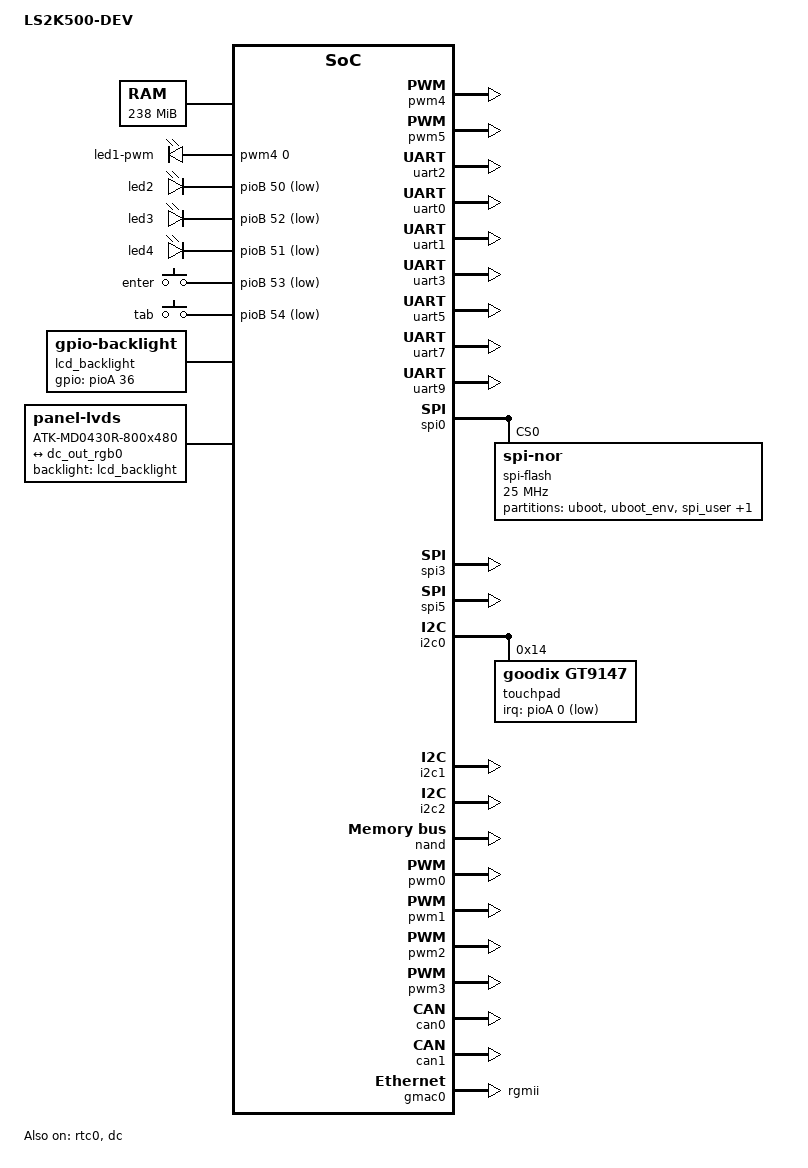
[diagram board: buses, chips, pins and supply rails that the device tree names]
#include "loongson2k500.dtsi"
#include "loongson_panel_param.dtsi"
#include <dt-bindings/input/linux-event-codes.h>
#include <dt-bindings/pwm/pwm.h>

/ {
	model = "LS2K500-DEV";
	chosen {
		stdout-path = "serial2:115200n8";
		bootargs = "earlycon";
	};

	memory {
		name = "memory";
		device_type = "memory";
		reg =  <0 0x00200000 0 0x0ee00000>;	/* low 256MB, 0 ~ 2MB reserved, highest 16MB reserved. */
	};

	reserved-memory {
		#address-cells = <2>;
		#size-cells = <2>;
		ranges;

		fb_memory: framebuffer {
			compatible = "shared-dma-pool";
			no-map;
			reg = <0 0x0b000000 0 0x02000000>; /* 32M */
		};

		linux,cma {
			compatible = "shared-dma-pool";
			reusable;
			size = <0 0x02000000>;
			alloc-ranges = <0 0x00200000 0 0x09000000>;
			linux,cma-default;
		};
	};

	pwmleds {
		compatible = "pwm-leds";

		led1 {
			label = "led1-pwm";
			pwms = <&pwm4 0 2550000>;
			max-brightness = <255>;
		};
	};

	leds {
		compatible = "gpio-leds";

		led2 {
			label = "led2";
			gpios = <&pioB 50 GPIO_ACTIVE_LOW>;
			linux,default-trigger = "heartbeat";
			default-state = "on";
		};

		led3 {
			label = "led3";
			gpios = <&pioB 52 GPIO_ACTIVE_LOW>;
			default-state = "off";
		};

		led4 {
			label = "led4";
			gpios = <&pioB 51 GPIO_ACTIVE_LOW>;
			default-state = "off";
		};
	};

	gpio_keys {
		compatible = "gpio-keys-polled";
		#address-cells = <1>;
		#size-cells = <0>;
		poll-interval = <20>;

		enter {
			label = "enter";
			linux,code = <28>;
			gpios = <&pioB 53 GPIO_ACTIVE_LOW>;
		};

		tab {
			label = "tab";
			linux,code = <15>;
			gpios = <&pioB 54 GPIO_ACTIVE_LOW>;
		};
	};
};

&pinmux {
	// backlight
	bl_gpio_pins:pinmux_bl_gpio {
		pinctrl-single,bits = <0x10 0x00000000 0x00070000>;
	};

	// key1: gpio117  key2: gpio118
	key_pins: pinmux_key_gpio {
		pinctrl-single,bits = <0x38 0x00000000 0x07700000>;
	};

	// touchpad
	tp_pins: pinmux_tp_gpio {
		pinctrl-single,bits = <0x00 0x00000000 0x00000007>;
	};

	spi3_f_kbms_pins: pinmux_spi3_f_kbms {
		pinctrl-single,bits = <0x10 0x00003333 0x00007777>;
	};

	spi3_f_kbms_gpio: pinmux_spi3_f_gpio {
		pinctrl-single,bits = <0x10 0x00000000 0x00007777>;
	};

	i2c1_f_uart0_pins: pinmux_i2c1_f_uart0 {
		pinctrl-single,bits = <0x18 0x00003300 0x00007700>;
	};

	i2c1_f_uart0_gpio: pinmux_i2c1_f_gpio {
		pinctrl-single,bits = <0x18 0x00000000 0x00007700>;
	};

	i2c2_f_uart0_pins: pinmux_i2c2_f_uart0 {
		pinctrl-single,bits = <0x18 0x00330000 0x00770000>;
	};

	i2c2_f_uart0_gpio: pinmux_i2c2_f_gpio {
		pinctrl-single,bits = <0x18 0x00000000 0x00770000>;
	};

	pwm4_f_pci_pins: pinmux_pwm4_f_pci {
		pinctrl-single,bits = <0x34 0x00000003 0x00000007>;
	};

	pwm5_f_pci_pins: pinmux_pwm5_f_pci {
		pinctrl-single,bits = <0x34 0x00000030 0x00000070>;
	};

	pwm5_f_pci_gpio: pinmux_pwm5_f_gpio {
		pinctrl-single,bits = <0x34 0x00000000 0x00000070>;
	};

	spi5_f_pci_pins: pinmux_spi5_f_pci {
		pinctrl-single,bits = <0x3c 0x44400000 0x77700000
					0x40 0x00000004 0x00000007>;
	};

	spi5_f_pci_gpio: pinmux_spi5_f_gpio {
		pinctrl-single,bits = <0x3c 0x00000000 0x77700000
					0x40 0x00000000 0x00000007>;
	};
};

&soc {
	lcd_backlight: backlight {
		compatible = "gpio-backlight";
		pinctrl-names = "default";
		pinctrl-0 = <&bl_gpio_pins>;
		gpios = <&pioA 36 GPIO_ACTIVE_HIGH>;
		status = "okay";
	};

	panel: dvo-connector@0 {
		#address-cells = <1>;
		#size-cells = <0>;
		compatible = "panel-lvds", "auo,b101ean01";
		backlight = <&lcd_backlight>;

		/* lcd power on control gpio */
		// enable-gpios = <&pioA 3 GPIO_ACTIVE_HIGH>;
		// power-supply = <&vdd_lcd>;
		width-mm = <117>;
		height-mm = <62>;
		label = "ATK-MD0430R-800x480";
		data-mapping = "jeida-24";

		panel-timing {
			clock-frequency = <27000000>;
			hactive = <800>;
			vactive = <480>;
			hsync-len = <40>;
			hfront-porch = <48>;
			hback-porch = <40>;
			vfront-porch = <13>;
			vback-porch = <32>;
			vsync-len = <0>;
			de-active = <1>;
			hsync-active = <0>;
			vsync-active = <0>;
			pixelclk-active = <0>;
		};

		port@0 {
			reg = <0>;

			#address-cells = <1>;
			#size-cells = <0>;

			dvo_connector_in: endpoint@0 {
				reg = <0>;
				remote-endpoint = <&dc_out_rgb0>;
			};
		};
	};

	pwm4: pwm@1ff5c040 {
		compatible = "loongson,ls2k-pwm";
		reg = <0 0x1ff5c040 0 0xf>;
		interrupt-parent = <&extioiic>;
		interrupts = <44>;
		#pwm-cells = <2>;
		pinctrl-0 = <&pwm4_f_pci_pins>;
		pinctrl-names = "default";
		clocks = <&clocks CLK_PWM>;
		clock-names = "pwm-clk";
		status = "okay";
	};

	pwm5: pwm@1ff5c050 {
		compatible = "loongson,ls2k-pwm";
		reg = <0 0x1ff5c050 0 0xf>;
		interrupt-parent = <&extioiic>;
		interrupts = <45>;
		#pwm-cells = <2>;
		pinctrl-0 = <&pwm5_f_pci_pins>;
		pinctrl-names = "default";
		clocks = <&clocks CLK_PWM>;
		clock-names = "pwm-clk";
		status = "okay";
	};
};

&uart2 {
	status = "okay";
};

&uart0 {
	status = "okay";
};

&uart1 {
	status = "okay";
};

&uart3 {
	status = "okay";
};

&uart5 {
	status = "okay";
};

&uart7 {
	pinctrl-0 = <&uart7_G120_pins>;
	pinctrl-names = "default";
	status = "okay";
};

&uart9 {
	status = "okay";
};

&spi0 {
	status = "okay";

	spi-flash@0 {
		compatible = "jedec,spi-nor";
		spi-max-frequency = <25000000>;
		reg = <0>;

		partitions {
			compatible = "fixed-partitions";
			#address-cells = <1>;
			#size-cells = <1>;

			partition@0 {
				label = "uboot";
				reg = <0x0000000 0x000d0000>;
			};

			partition@0x000d0000 {
				label = "uboot_env";
				reg = <0x000d0000 0x00008000>;
			};

			partition@0x000d8000 {
				label = "spi_user";
				reg = <0x000d8000 0x00008000>;
			};

			partition@0x000e0000 {
				label = "dtb";
				reg = <0x000e0000 0x00020000>;
			};
		};
	};
};

&spi3 {
	pinctrl-0 = <&spi3_f_kbms_pins>;
	pinctrl-names = "default";
	status = "okay";
};

&spi5 {
	pinctrl-0 = <&spi5_f_pci_pins>;
	pinctrl-names = "default";
	status = "okay";
};

&i2c0 {
	status = "okay";

	touchpad: gt9147@14 {
		compatible = "goodix,gt9147";
		reg = <0x14>;
		interrupt-parent = <&extioiic>;
		interrupts = <87>;
		irq-gpios = <&pioA 0 GPIO_ACTIVE_LOW>;
		// reset-gpios = <&pioA 37 0>;

		pinctrl-names = "default";
		pinctrl-0 = <&tp_pins>;
	};
};

&i2c1 {
	pinctrl-0 = <&i2c1_f_uart0_pins>;
	pinctrl-names = "default";
	status = "okay";
};

&i2c2 {
	pinctrl-0 = <&i2c2_f_uart0_pins>;
	pinctrl-names = "default";
	status = "okay";
};

&nand {
	status = "okay";
	nand-dev-name = "ls-nand";

	partitions {
		compatible = "fixed-partitions";
		#address-cells = <1>;
		#size-cells = <1>;

		partition@0 {
			label = "kernel";
			reg = <0x0000000 0x00e00000>;
		};

		partition@0x01400000 {
			label = "root";
			reg = <0x00e00000 0x0>;
		};
	};
};

&pwm0 {
	status = "okay";
};

&pwm1 {
	status = "okay";
};

&pwm2 {
	status = "okay";
};

&pwm3 {
	status = "okay";
};

&can0 {
	status = "okay";
};

&can1 {
	status = "okay";
};

&rtc0 {
	status = "okay";
};

&gmac0 {
	status = "okay";
	phy-mode = "rgmii";
	// max-speed = <100>;
};

&dc {
	status = "okay";
	memory-region = <&fb_memory>;

	ports {
		#address-cells = <1>;
		#size-cells = <0>;

		port@0 {
			reg = <0>;
			dc_out_rgb0: endpoint {
				remote-endpoint = <&dvo_connector_in>;
			};
		};
	};
};
